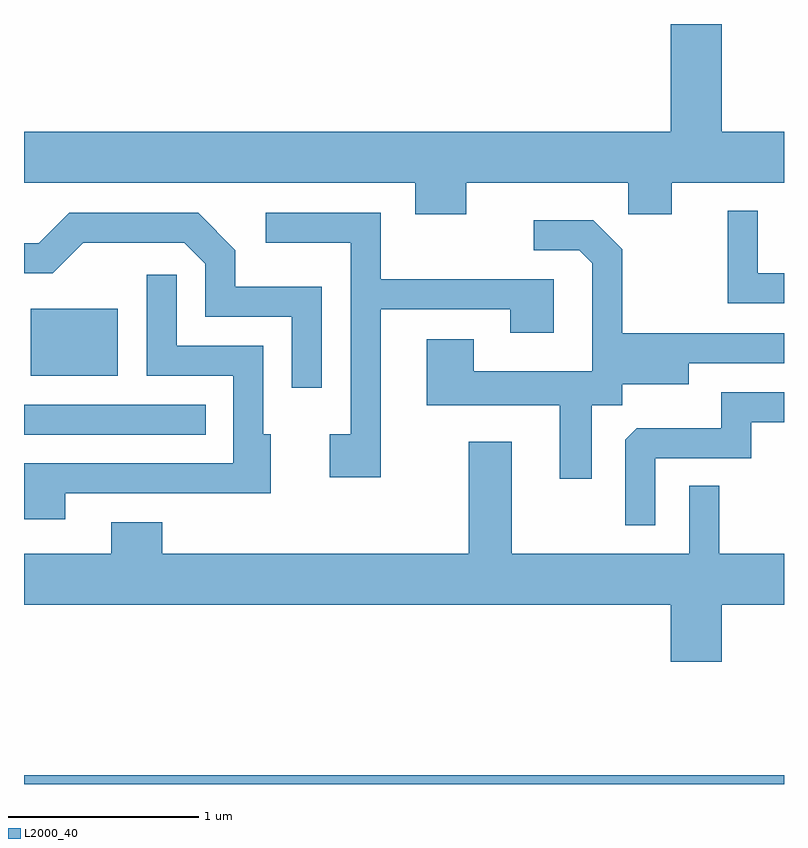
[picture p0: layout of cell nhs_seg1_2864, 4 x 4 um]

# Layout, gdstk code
import gdstk
lib = gdstk.Library(unit=1e-6, precision=1e-09)
def R(c, l, rs):  # rectangles x0, y0, x1, y1
    for r in rs: c.add(gdstk.rectangle(r[:2], r[2:], *l))
def P(c, l, *ps):  # polygons
    for p in ps: c.add(gdstk.Polygon(p, *l))
L2000_40 = (2000, 40)

nhs_seg1_2864 = lib.new_cell('nhs_seg1_2864')
R(nhs_seg1_2864, L2000_40, [(271.611,929.712,275.611,929.759), (271.611,931.551,272.568,931.709), (271.646,931.861,272.104,932.214)])
P(nhs_seg1_2864, L2000_40, [(273.939,932.876),(274.791,932.876),(274.791,932.711),(275.019,932.711),(275.019,932.876),(275.611,932.876),(275.611,933.144),(275.284,933.144),(275.284,933.712),(275.016,933.712),(275.016,933.144),(271.611,933.144),(271.611,932.876),(273.671,932.876),(273.671,932.711),(273.939,932.711)],
  [(275.611,932.399),(275.474,932.399),(275.474,932.728),(275.316,932.728),(275.316,932.241),(275.611,932.241)],
  [(273.489,932.211),(274.171,932.211),(274.171,932.086),(274.399,932.086),(274.399,932.369),(273.489,932.369),(273.489,932.719),(272.883,932.719),(272.883,932.561),(273.331,932.561),(273.331,931.554),(273.221,931.554),(273.221,931.326),(273.489,931.326)],
  [(273.179,932.329),(272.724,932.329),(272.724,932.522),(272.527,932.719),(271.849,932.719),(271.689,932.559),(271.611,932.559),(271.611,932.401),(271.762,932.401),(271.922,932.561),(272.454,932.561),(272.566,932.449),(272.566,932.171),(273.021,932.171),(273.021,931.798),(273.179,931.798)],
  [(274.599,931.706),(274.759,931.706),(274.759,931.816),(275.109,931.816),(275.109,931.926),(275.611,931.926),(275.611,932.084),(274.759,932.084),(274.759,932.527),(274.607,932.679),(274.293,932.679),(274.293,932.521),(274.534,932.521),(274.601,932.454),(274.601,931.884),(273.979,931.884),(273.979,932.054),(273.731,932.054),(273.731,931.706),(274.431,931.706),(274.431,931.318),(274.599,931.318)],
  [(271.829,931.241),(272.909,931.241),(272.909,931.554),(272.869,931.554),(272.869,932.019),(272.414,932.019),(272.414,932.393),(272.256,932.393),(272.256,931.861),(272.711,931.861),(272.711,931.399),(271.611,931.399),(271.611,931.106),(271.829,931.106)],
  [(274.934,931.426),(275.439,931.426),(275.439,931.616),(275.611,931.616),(275.611,931.774),(275.281,931.774),(275.281,931.584),(274.837,931.584),(274.776,931.524),(274.776,931.073),(274.934,931.073)],
  [(275.284,930.656),(275.611,930.656),(275.611,930.924),(275.269,930.924),(275.269,931.283),(275.111,931.283),(275.111,930.924),(274.179,930.924),(274.179,931.514),(273.951,931.514),(273.951,930.924),(272.339,930.924),(272.339,931.089),(272.071,931.089),(272.071,930.924),(271.611,930.924),(271.611,930.656),(275.016,930.656),(275.016,930.356),(275.284,930.356)])

lib.write_gds('nhs_seg1_2864.gds')
